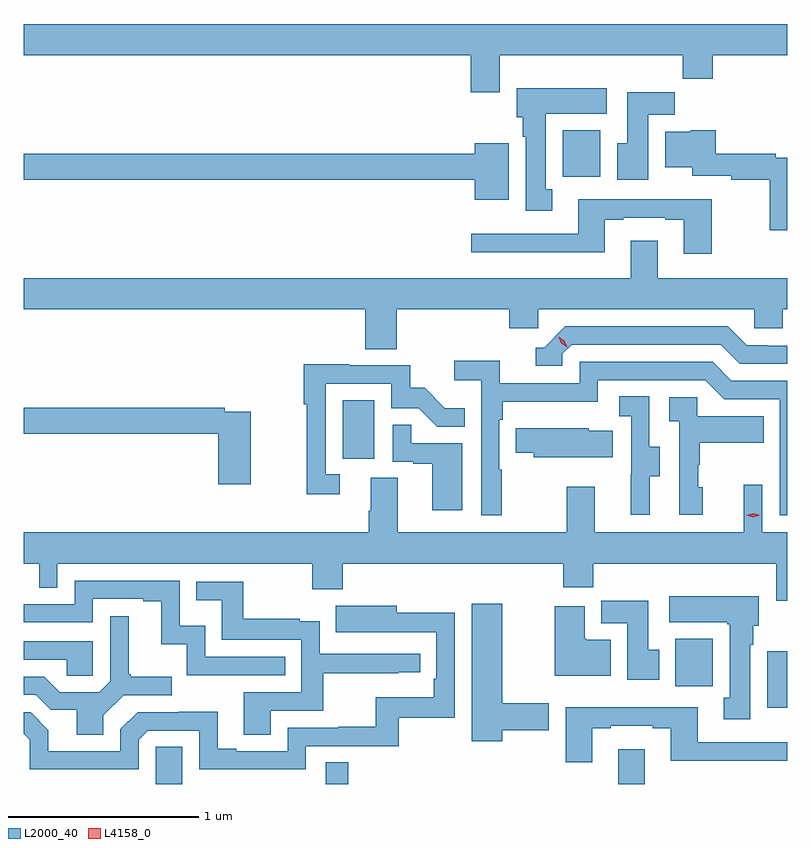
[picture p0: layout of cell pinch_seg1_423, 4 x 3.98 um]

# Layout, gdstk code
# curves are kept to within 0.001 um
import gdstk
lib = gdstk.Library(unit=1e-6, precision=1e-09)
def R(c, l, rs):  # rectangles x0, y0, x1, y1
    for r in rs: c.add(gdstk.rectangle(r[:2], r[2:], *l))
def P(c, l, *ps):  # polygons
    for p in ps: c.add(gdstk.Polygon(p, *l))
L2000_40 = (2000, 40)
L4158_0 = (4158, 0)

pinch_seg1_423 = lib.new_cell('pinch_seg1_423')
R(pinch_seg1_423, L2000_40, [(928.464,527.933,928.603,528.128), (929.355,527.933,929.471,528.047), (930.887,527.933,931.027,528.115), (931.667,528.332,931.772,528.628), (931.187,528.444,931.383,528.694), (929.444,529.638,929.608,529.945), (930.596,531.116,930.793,531.358)])
P(pinch_seg1_423, L2000_40, [(930.265,531.752),(931.225,531.752),(931.225,531.628),(931.382,531.628),(931.382,531.752),(931.772,531.752),(931.772,531.916),(927.772,531.916),(927.772,531.752),(930.113,531.752),(930.113,531.558),(930.265,531.558)],
  [(930.541,531.05),(930.508,531.05),(930.508,531.446),(930.826,531.446),(930.826,531.58),(930.356,531.58),(930.356,531.426),(930.386,531.426),(930.386,531.326),(930.401,531.326),(930.401,530.937),(930.541,530.937)],
  [(931.045,531.44),(931.184,531.44),(931.184,531.559),(930.935,531.559),(930.935,531.292),(930.881,531.292),(930.881,531.099),(931.045,531.099)],
  [(931.772,531.216),(931.712,531.216),(931.712,531.236),(931.397,531.236),(931.397,531.358),(931.266,531.358),(931.266,531.352),(931.133,531.352),(931.133,531.164),(931.274,531.164),(931.274,531.12),(931.48,531.12),(931.48,531.1),(931.681,531.1),(931.681,530.835),(931.772,530.835)],
  [(930.313,531.292),(930.134,531.292),(930.134,531.236),(927.772,531.236),(927.772,531.1),(930.134,531.1),(930.134,530.996),(930.313,530.996)],
  [(931.377,530.997),(930.677,530.997),(930.677,530.817),(930.117,530.817),(930.117,530.72),(930.817,530.72),(930.817,530.889),(930.913,530.889),(930.913,530.901),(931.133,530.901),(931.133,530.889),(931.229,530.889),(931.229,530.712),(931.377,530.712)],
  [(929.726,530.42),(930.317,530.42),(930.317,530.322),(930.468,530.322),(930.468,530.42),(931.599,530.42),(931.599,530.322),(931.749,530.322),(931.749,530.42),(931.772,530.42),(931.772,530.584),(931.093,530.584),(931.093,530.779),(930.953,530.779),(930.953,530.584),(927.772,530.584),(927.772,530.42),(929.561,530.42),(929.561,530.212),(929.726,530.212)],
  [(930.594,530.187),(930.642,530.235),(931.425,530.235),(931.524,530.136),(931.772,530.136),(931.772,530.23),(931.668,530.229),(931.668,530.232),(931.561,530.232),(931.462,530.331),(930.609,530.331),(930.498,530.22),(930.455,530.22),(930.455,530.124),(930.594,530.124)],
  [(930.277,529.58),(930.264,529.58),(930.264,529.841),(930.281,529.841),(930.281,529.937),(930.78,529.937),(930.78,530.049),(931.344,530.049),(931.443,529.95),(931.734,529.95),(931.734,529.341),(931.772,529.341),(931.772,530.046),(931.48,530.046),(931.381,530.145),(930.684,530.145),(930.684,530.034),(930.266,530.034),(930.266,530.15),(930.027,530.15),(930.027,530.048),(930.168,530.048),(930.168,529.341),(930.277,529.341)],
  [(929.428,529.557),(929.355,529.557),(929.355,530.031),(929.697,530.031),(929.697,529.902),(929.841,529.902),(929.939,529.804),(930.083,529.804),(930.083,529.903),(929.979,529.903),(929.872,530.01),(929.796,530.01),(929.796,530.127),(929.477,530.127),(929.477,530.132),(929.239,530.132),(929.239,529.924),(929.254,529.924),(929.254,529.452),(929.428,529.452)],
  [(931.051,529.546),(931.105,529.546),(931.105,529.701),(931.05,529.701),(931.05,529.964),(930.891,529.964),(930.891,529.861),(930.954,529.861),(930.954,529.557),(930.953,529.557),(930.953,529.344),(931.051,529.344)],
  [(931.33,529.488),(931.305,529.488),(931.305,529.607),(931.315,529.607),(931.315,529.721),(931.649,529.721),(931.649,529.861),(931.302,529.861),(931.302,529.959),(931.155,529.959),(931.155,529.835),(931.206,529.835),(931.206,529.344),(931.33,529.344)],
  [(928.96,529.884),(928.826,529.884),(928.826,529.904),(927.772,529.904),(927.772,529.768),(928.79,529.768),(928.79,529.503),(928.96,529.503)],
  [(930.07,529.719),(929.801,529.719),(929.801,529.817),(929.706,529.817),(929.706,529.623),(929.813,529.623),(929.813,529.611),(929.912,529.611),(929.912,529.368),(930.07,529.368)],
  [(930.857,529.783),(930.732,529.783),(930.732,529.798),(930.46,529.798),(930.46,529.797),(930.349,529.797),(930.349,529.669),(930.443,529.669),(930.443,529.646),(930.857,529.646)],
  [(931.772,529.252),(931.641,529.252),(931.641,529.501),(931.544,529.501),(931.544,529.252),(930.763,529.252),(930.763,529.492),(930.616,529.492),(930.616,529.252),(929.731,529.252),(929.731,529.538),(929.591,529.538),(929.591,529.364),(929.579,529.364),(929.579,529.252),(927.772,529.252),(927.772,529.088),(927.852,529.088),(927.852,528.961),(927.948,528.961),(927.948,529.088),(929.284,529.088),(929.284,528.953),(929.444,528.953),(929.444,529.088),(930.599,529.088),(930.599,528.964),(930.755,528.964),(930.755,529.088),(931.715,529.088),(931.715,528.894),(931.772,528.894)],
  [(929.141,528.6),(928.722,528.6),(928.722,528.763),(928.59,528.763),(928.59,528.999),(928.038,528.999),(928.038,528.876),(927.772,528.876),(927.772,528.78),(928.134,528.78),(928.134,528.903),(928.397,528.903),(928.397,528.891),(928.493,528.891),(928.493,528.665),(928.626,528.665),(928.626,528.504),(929.141,528.504)],
  [(929.065,528.318),(929.342,528.318),(929.342,528.514),(929.735,528.514),(929.735,528.519),(929.848,528.519),(929.848,528.615),(929.322,528.615),(929.322,528.787),(929.219,528.787),(929.219,528.799),(928.921,528.799),(928.921,528.993),(928.675,528.993),(928.675,528.896),(928.81,528.896),(928.81,528.69),(929.226,528.69),(929.226,528.414),(928.925,528.414),(928.925,528.19),(929.065,528.19)],
  [(931.579,528.662),(931.594,528.662),(931.594,528.762),(931.624,528.762),(931.624,528.916),(931.155,528.916),(931.155,528.782),(931.459,528.782),(931.459,528.769),(931.472,528.769),(931.472,528.385),(931.439,528.385),(931.439,528.273),(931.579,528.273)],
  [(931.102,528.636),(931.045,528.636),(931.045,528.894),(930.797,528.894),(930.797,528.776),(930.935,528.776),(930.935,528.48),(931.102,528.48)],
  [(930.28,528.214),(930.523,528.214),(930.523,528.356),(930.28,528.356),(930.28,528.877),(930.119,528.877),(930.119,528.156),(930.28,528.156)],
  [(928.374,528.165),(928.422,528.213),(928.692,528.213),(928.692,528.009),(929.25,528.009),(929.25,528.132),(929.737,528.132),(929.737,528.279),(930.03,528.279),(930.03,528.83),(929.725,528.83),(929.725,528.868),(929.407,528.868),(929.407,528.728),(929.934,528.729),(929.934,528.484),(929.921,528.484),(929.921,528.388),(929.616,528.388),(929.616,528.233),(929.419,528.233),(929.419,528.228),(929.154,528.228),(929.154,528.105),(928.885,528.105),(928.885,528.118),(928.789,528.118),(928.789,528.311),(928.584,528.311),(928.584,528.309),(928.368,528.309),(928.278,528.219),(928.278,528.105),(927.901,528.105),(927.901,528.215),(927.807,528.309),(927.772,528.309),(927.772,528.197),(927.804,528.165),(927.804,528.009),(928.374,528.009)],
  [(930.847,528.688),(930.718,528.688),(930.718,528.694),(930.712,528.694),(930.712,528.865),(930.554,528.865),(930.554,528.5),(930.847,528.5)],
  [(928.189,528.292),(928.296,528.399),(928.546,528.399),(928.546,528.496),(928.333,528.496),(928.333,528.508),(928.321,528.508),(928.321,528.811),(928.224,528.811),(928.224,528.471),(928.167,528.414),(927.961,528.414),(927.88,528.495),(927.772,528.495),(927.772,528.402),(927.834,528.402),(927.914,528.322),(928.049,528.322),(928.049,528.19),(928.189,528.19)],
  [(928.134,528.681),(927.772,528.681),(927.772,528.585),(927.997,528.585),(927.997,528.501),(928.134,528.501)],
  [(930.751,528.225),(930.847,528.225),(930.847,528.237),(931.067,528.237),(931.067,528.225),(931.163,528.225),(931.163,528.056),(931.772,528.056),(931.772,528.153),(931.303,528.153),(931.303,528.334),(930.611,528.334),(930.611,528.048),(930.751,528.048)])
P(pinch_seg1_423, L4158_0, [(931.594,529.331),(931.558,529.341),(931.558,529.341),(931.558,529.341),(931.594,529.351),(931.63,529.341),(931.63,529.341),(931.63,529.341)],
  [(930.62,530.223),(930.589,530.242),(930.574,530.275),(930.574,530.276),(930.574,530.276),(930.604,530.256),(930.62,530.223),(930.62,530.223)])

lib.write_gds('pinch_seg1_423.gds')
